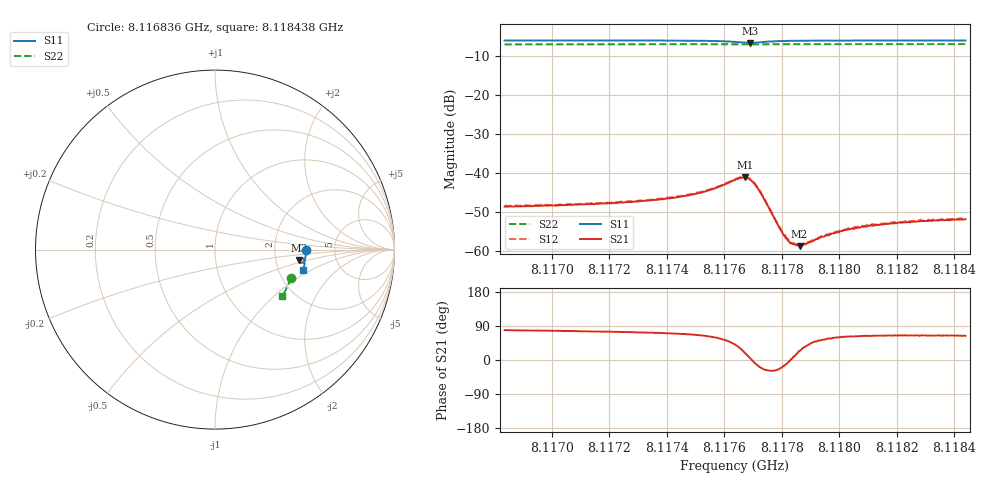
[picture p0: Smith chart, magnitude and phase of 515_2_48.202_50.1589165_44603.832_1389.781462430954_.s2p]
#  HZ  S  RI  R  50.00
! Rohde & Schwarz Vector Network Analyzer
! Rohde-Schwarz,ZNB20-2Port,1311601062101988,3.16
! Created: UTC 3/20/2024, 11:59:08 AM
! freq[Hz]  re:S11  im:S11  re:S21  im:S21  re:S12  im:S12  re:S22  im:S22
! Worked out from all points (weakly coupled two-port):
!   401 points, 8.116836 GHz to 8.118438 GHz, reference 50 ohm
!   highest |S21| = -41.09 dB at 8.117673 GHz (marker M1); lowest = -58.7 dB at 8.117861 GHz (marker M2)
!   lowest |S11| = -6.5 dB at 8.117689 GHz (marker M3), VSWR 2.78, Z = 135 - j20.3 ohm
!   |S11| at or under -10 dB: nowhere
!   |S22| runs from -6.9 to -6.8 dB; largest |S21 - S12| = 0.00026
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8.1168363e9  0.5068 -0.00303  0.000727 0.00365  0.000769 0.00375  0.4227 -0.1574
8.1171046e9  0.5057 -0.0242  0.000968 0.00387  0.00102 0.00394  0.4163 -0.1751
8.1173729e9  0.5031 -0.0467  0.00144 0.00436  0.00154 0.00447  0.4094 -0.1925
8.117457e9  0.5011 -0.0548  0.00187 0.00472  0.00192 0.0048  0.4068 -0.1982
8.117521e9  0.4984 -0.0618  0.0024 0.00511  0.00247 0.00522  0.4049 -0.2024
8.1175771e9  0.4935 -0.0688  0.00349 0.0056  0.00356 0.00569  0.4032 -0.2059
8.1176372e9  0.4803 -0.0741  0.00621 0.00535  0.00641 0.00542  0.4006 -0.2096
8.1176572e9  0.4731 -0.0717  0.00756 0.00432  0.00781 0.00437  0.3999 -0.2106
8.1176732e9  0.4684 -0.0663  0.00839 0.00273  0.00854 0.00277  0.3992 -0.2113
8.1176892e9  0.4672 -0.0583  0.00827 0.000742  0.00844 0.000712  0.3988 -0.2119
8.1177052e9  0.4706 -0.051  0.00723 -0.000944  0.0074 -0.001  0.3987 -0.2126
8.1177253e9  0.4784 -0.0467  0.00533 -0.00191  0.00546 -0.002  0.3985 -0.2137
8.1177853e9  0.494 -0.0531  0.00198 -0.000937  0.00205 -0.000964  0.3972 -0.2177
8.1178134e9  0.4966 -0.0577  0.00144 -0.000309  0.00151 -0.000322  0.3965 -0.2196
8.1178334e9  0.4976 -0.0606  0.00126 5.51e-05  0.00128 4.67e-05  0.396 -0.2209
8.1178614e9  0.4986 -0.0645  0.00106 0.000479  0.00108 0.000465  0.3951 -0.2228
8.1179055e9  0.4989 -0.0698  0.000926 0.000952  0.000981 0.000959  0.3936 -0.2258
8.1179455e9  0.4989 -0.0741  0.000907 0.00123  0.000922 0.00126  0.3924 -0.2282
8.1180336e9  0.4982 -0.0824  0.000884 0.00167  0.00096 0.00174  0.3895 -0.2337
8.1181738e9  0.4964 -0.0944  0.000963 0.00204  0.00098 0.00207  0.3846 -0.2424
8.1182739e9  0.4949 -0.1024  0.00102 0.00218  0.00108 0.00224  0.381 -0.2485
8.1184381e9  0.4922 -0.115  0.00114 0.0023  0.00117 0.00233  0.3751 -0.2582
